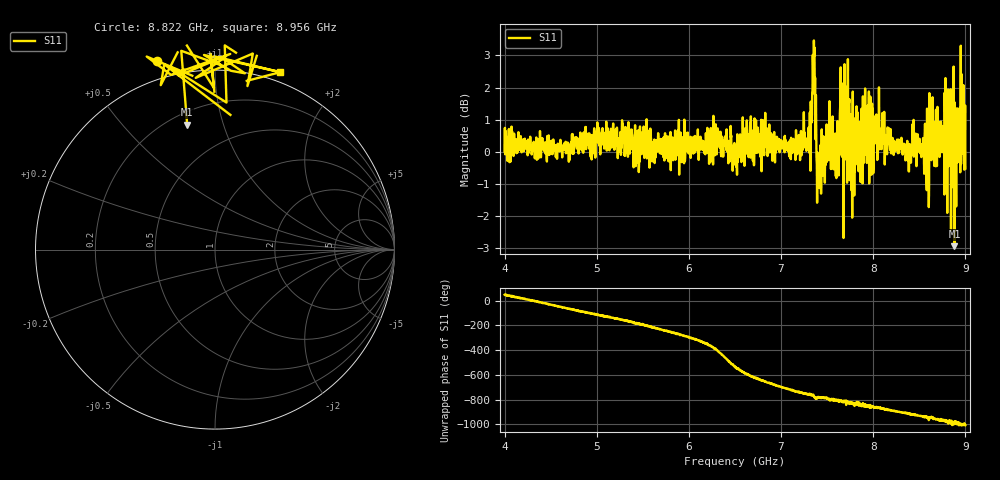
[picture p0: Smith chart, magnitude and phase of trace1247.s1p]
! Created with skrf 1.8.0 (http://scikit-rf.org).
# Hz S RI R 50.0
!freq ReS11 ImS11
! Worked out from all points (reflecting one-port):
!   1601 points, 4 GHz to 9 GHz, reference 50 ohm
!   lowest |S11| = -2.9 dB at 8.881 GHz (marker M1), VSWR 5.96, Z = 13.5 + j38.3 ohm
!   phase of S11 starts at 48 deg and turns -1056 deg over the sweep
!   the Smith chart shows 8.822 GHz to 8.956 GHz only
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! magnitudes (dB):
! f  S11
! 4 GHz  0.0
! 4.625 GHz  -0.2
! 5.25 GHz  0.0
! 5.875 GHz  0.4
! 6.331 GHz  0.3
! 6.5 GHz  -0.2
! 6.806 GHz  0.6
! 7.125 GHz  0.4
! 7.294 GHz  0.1
! 7.347 GHz  2.6
! 7.362 GHz  3.2
! 7.409 GHz  -0.5
! 7.512 GHz  0.4
! 7.609 GHz  0.0
! 7.65 GHz  0.5
! 7.75 GHz  -0.4
! 7.769 GHz  -0.7
! 7.891 GHz  0.2
! 8.088 GHz  0.5
! 8.375 GHz  -0.1
! 8.441 GHz  -0.2
! 8.581 GHz  -1.2
! 8.634 GHz  0.0
! 8.684 GHz  -0.2
! 8.8 GHz  1.2
! 8.881 GHz  -2.9
! 8.972 GHz  0.5
! 9 GHz  -0.5
